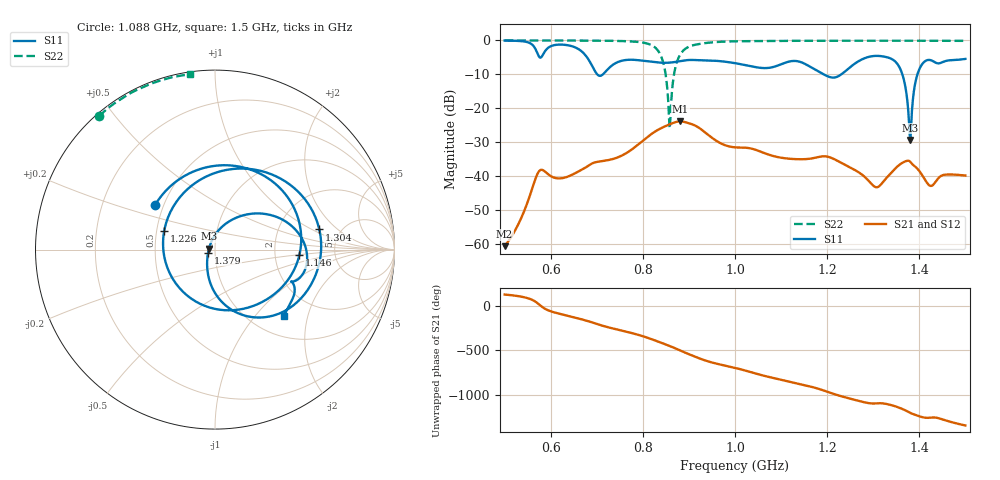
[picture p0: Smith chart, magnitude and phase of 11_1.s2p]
! TOUCHSTONE file generated by CST MICROWAVE STUDIO
! Date and time: Sat Nov 14 20:33:51 2020
! Project name: Scenario_1_Planar_Body_Tissue_Out_of_Line_v2.cst
! Parameters = {dy1=173; L_HA=400; Ltissue=700; MT=2.54; Rad_Dielectric=30; Rad_Lower=7.3; Rad_Upper=30; Wtissue=700; a_HA=580; a_WG=246; b_HA=500; b_WG=121; c_HA=0; c_WG=187; d_feed=85; dx1=173; h_feed=15; h_lower=18; h_upper=40; hfat=3; hgap=25; hmuscle=50; hskin=1.5}
! Header version: 2018
! Port assignment regex: !\s*Touchstone port\s*([0-9]+)\s*=\s*(CST MWS port|CST DS port)\s*([0-9]+|Zmin|Zmax)\s*\(\"(.*)\"\)(\s*mode\s*([0-9]+))?.*
! Touchstone port assignment:
! Touchstone port 1 = CST MWS port 1 ("")
! Touchstone port 2 = CST MWS port 2 ("")
# GHz S DB R 50
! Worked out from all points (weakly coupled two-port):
!   1003 points, 500 MHz to 1.5 GHz, reference 50 ohm
!   highest |S21| = -23.82 dB at 881 MHz (marker M1); lowest = -60.6 dB at 500 MHz (marker M2)
!   lowest |S11| = -29.3 dB at 1.38 GHz (marker M3), VSWR 1.07, Z = 46.7 + j0.437 ohm
!   |S11| at or under -10 dB: 701.1 MHz to 713.3 MHz (12.25 MHz wide, 1.73 % of centre); 1.193 GHz to 1.231 GHz (37.92 MHz wide, 3.13 % of centre); 1.363 GHz to 1.396 GHz (32.65 MHz wide, 2.37 % of centre)
!   |S22| runs from -25.9 to 0.0 dB; largest |S21 - S12| = 1.5e-05
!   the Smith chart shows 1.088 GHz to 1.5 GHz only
!   S11 on the Smith chart (normalised r, x): 1.088 GHz: 0.45, +0.27; 1.146 GHz: 2.76, -0.22; 1.226 GHz: 0.55, +0.13; 1.304 GHz: 3.45, +1.20; 1.379 GHz: 0.93, -0.03; 1.5 GHz: 1.38, -1.44
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0.5  -0.05 -121.7  -60.59 126.9  -60.59 126.9  -0.01 151.2
0.576  -4.98 -161.1  -38.33 10.2  -38.33 10.2  -0.02 145.9
0.628  -1.26 172.0  -40.49 -100.2  -40.49 -100.2  -0.03 141.9
0.667  -3.20 111.3  -38.10 -151.6  -38.10 -151.5  -0.04 138.4
0.694  -8.52 26.7  -36.00 166.0  -36.00 166.0  -0.06 135.6
0.72  -9.06 -98.2  -35.36 125.1  -35.36 125.1  -0.10 132.4
0.763  -5.77 161.9  -33.28 70.3  -33.28 70.3  -0.22 124.9
0.834  -6.51 23.8  -26.24 -43.9  -26.24 -43.9  -3.22 83.9
0.858  -6.53 -37.3  -24.71 -91.6  -24.71 -91.6  -25.86 -33.4
0.881  -6.09 -102.1  -23.82 -142.3  -23.82 -142.3  -4.18 -172.7
0.94  -5.87 97.5  -27.62 97.7  -27.62 97.7  -0.71 151.8
1  -6.69 -24.6  -31.48 21.8  -31.48 21.8  -0.25 140.3
1.088  -7.62 143.2  -34.21 -97.3  -34.21 -97.3  -0.13 130.9
1.146  -6.54 -3.8  -34.98 -166.2  -34.98 -166.2  -0.10 125.9
1.167  -8.05 -46.4  -34.74 167.1  -34.74 167.1  -0.10 124.2
1.226  -10.41 159.8  -35.70 69.7  -35.70 69.7  -0.09 119.8
1.304  -4.55 10.9  -43.13 -18.6  -43.13 -18.6  -0.09 113.9
1.334  -5.12 -27.8  -39.72 -30.3  -39.71 -30.3  -0.08 111.6
1.379  -27.46 -155.9  -35.56 -120.7  -35.56 -120.7  -0.09 108.1
1.38  -29.33 172.1  -35.67 -123.5  -35.67 -123.5  -0.09 108.0
1.409  -6.52 11.5  -40.29 -175.7  -40.29 -175.7  -0.09 105.7
1.5  -5.44 -44.1  -39.79 94.1  -39.79 94.1  -0.13 98.0
